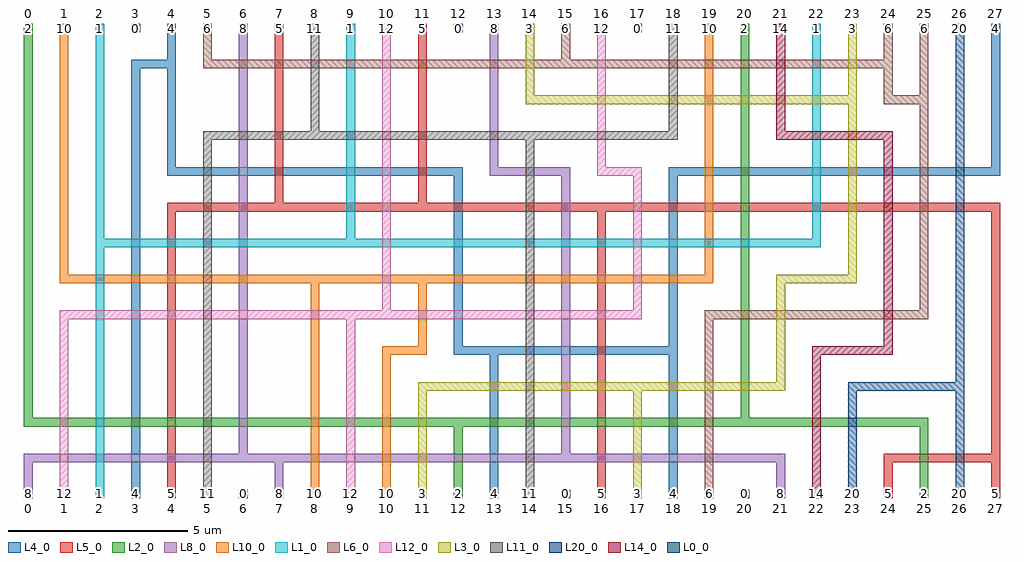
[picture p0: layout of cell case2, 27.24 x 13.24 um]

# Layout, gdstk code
import gdstk
lib = gdstk.Library(unit=1e-6, precision=1e-09)
def R(c, l, rs):  # rectangles x0, y0, x1, y1
    for r in rs: c.add(gdstk.rectangle(r[:2], r[2:], *l))
L0_0 = (0, 0)
L1_0 = (1, 0)
L2_0 = (2, 0)
L3_0 = (3, 0)
L4_0 = (4, 0)
L5_0 = (5, 0)
L6_0 = (6, 0)
L8_0 = (8, 0)
L10_0 = (10, 0)
L11_0 = (11, 0)
L12_0 = (12, 0)
L14_0 = (14, 0)
L20_0 = (20, 0)

case2 = lib.new_cell('case2')
R(case2, L0_0, [(5.88,-0.12,6.12,0.12), (14.88,-0.12,15.12,0.12), (19.88,-0.12,20.12,0.12), (2.88,12.88,3.12,13.12), (11.88,12.88,12.12,13.12), (16.88,12.88,17.12,13.12)])
R(case2, L1_0, [(1.88,-0.12,2.12,7.12), (1.88,-0.12,2.12,0.12), (1.88,6.88,2.12,12.12), (1.88,6.88,22.12,7.12), (8.88,6.88,9.12,13.12), (21.88,6.88,22.12,13.12), (1.88,11.88,2.12,13.12), (1.88,12.88,2.12,13.12), (8.88,12.88,9.12,13.12), (21.88,12.88,22.12,13.12)])
R(case2, L2_0, [(11.88,-0.12,12.12,2.12), (11.88,-0.12,12.12,0.12), (24.88,-0.12,25.12,2.12), (24.88,-0.12,25.12,0.12), (-0.12,1.88,0.12,12.12), (-0.12,1.88,25.12,2.12), (19.88,1.88,20.12,10.12), (19.88,9.88,20.12,13.12), (-0.12,11.88,0.12,13.12), (-0.12,12.88,0.12,13.12), (19.88,12.88,20.12,13.12)])
R(case2, L3_0, [(10.88,-0.12,11.12,3.12), (10.88,-0.12,11.12,0.12), (16.88,-0.12,17.12,3.12), (16.88,-0.12,17.12,0.12), (10.88,2.88,21.12,3.12), (20.88,2.88,21.12,6.12), (20.88,5.88,23.12,6.12), (22.88,5.88,23.12,11.12), (13.88,10.88,14.12,13.12), (13.88,10.88,23.12,11.12), (22.88,10.88,23.12,13.12), (13.88,12.88,14.12,13.12), (22.88,12.88,23.12,13.12)])
R(case2, L4_0, [(2.88,-0.12,3.12,8.12), (2.88,-0.12,3.12,0.12), (12.88,-0.12,13.12,4.12), (12.88,-0.12,13.12,0.12), (17.88,-0.12,18.12,4.12), (17.88,-0.12,18.12,0.12), (11.88,3.88,12.12,9.12), (11.88,3.88,18.12,4.12), (17.88,3.88,18.12,9.12), (2.88,7.88,3.12,12.12), (3.88,8.88,4.12,12.12), (3.88,8.88,12.12,9.12), (17.88,8.88,27.12,9.12), (26.88,8.88,27.12,12.12), (2.88,11.88,4.12,12.12), (3.88,11.88,4.12,13.12), (26.88,11.88,27.12,13.12), (3.88,12.88,4.12,13.12), (26.88,12.88,27.12,13.12)])
R(case2, L5_0, [(3.88,-0.12,4.12,8.12), (3.88,-0.12,4.12,0.12), (15.88,-0.12,16.12,8.12), (15.88,-0.12,16.12,0.12), (23.88,-0.12,24.12,1.12), (23.88,-0.12,24.12,0.12), (26.88,-0.12,27.12,1.12), (26.88,-0.12,27.12,0.12), (23.88,0.88,27.12,1.12), (26.88,0.88,27.12,8.12), (3.88,7.88,27.12,8.12), (6.88,7.88,7.12,13.12), (10.88,7.88,11.12,13.12), (6.88,12.88,7.12,13.12), (10.88,12.88,11.12,13.12)])
R(case2, L6_0, [(18.88,-0.12,19.12,4.12), (18.88,-0.12,19.12,0.12), (18.88,3.88,19.12,5.12), (18.88,4.88,25.12,5.12), (24.88,4.88,25.12,12.12), (23.88,10.88,24.12,12.12), (23.88,10.88,25.12,11.12), (4.88,11.88,5.12,13.12), (4.88,11.88,24.12,12.12), (14.88,11.88,15.12,13.12), (23.88,11.88,24.12,13.12), (24.88,11.88,25.12,13.12), (4.88,12.88,5.12,13.12), (14.88,12.88,15.12,13.12), (23.88,12.88,24.12,13.12), (24.88,12.88,25.12,13.12)])
R(case2, L8_0, [(-0.12,-0.12,0.12,1.12), (-0.12,-0.12,0.12,0.12), (6.88,-0.12,7.12,1.12), (6.88,-0.12,7.12,0.12), (20.88,-0.12,21.12,1.12), (20.88,-0.12,21.12,0.12), (-0.12,0.88,21.12,1.12), (5.88,0.88,6.12,13.12), (14.88,0.88,15.12,9.12), (12.88,8.88,13.12,13.12), (12.88,8.88,15.12,9.12), (5.88,12.88,6.12,13.12), (12.88,12.88,13.12,13.12)])
R(case2, L10_0, [(7.88,-0.12,8.12,6.12), (7.88,-0.12,8.12,0.12), (9.88,-0.12,10.12,4.12), (9.88,-0.12,10.12,0.12), (9.88,3.88,11.12,4.12), (10.88,3.88,11.12,6.12), (0.88,5.88,1.12,12.12), (0.88,5.88,19.12,6.12), (18.88,5.88,19.12,10.12), (18.88,9.88,19.12,13.12), (0.88,11.88,1.12,13.12), (0.88,12.88,1.12,13.12), (18.88,12.88,19.12,13.12)])
R(case2, L11_0, [(4.88,-0.12,5.12,10.12), (4.88,-0.12,5.12,0.12), (13.88,-0.12,14.12,10.12), (13.88,-0.12,14.12,0.12), (4.88,9.88,18.12,10.12), (7.88,9.88,8.12,13.12), (17.88,9.88,18.12,13.12), (7.88,12.88,8.12,13.12), (17.88,12.88,18.12,13.12)])
R(case2, L12_0, [(0.88,-0.12,1.12,5.12), (0.88,-0.12,1.12,0.12), (8.88,-0.12,9.12,5.12), (8.88,-0.12,9.12,0.12), (0.88,4.88,17.12,5.12), (9.88,4.88,10.12,13.12), (16.88,4.88,17.12,9.12), (15.88,8.88,16.12,13.12), (15.88,8.88,17.12,9.12), (9.88,12.88,10.12,13.12), (15.88,12.88,16.12,13.12)])
R(case2, L14_0, [(21.88,-0.12,22.12,1.12), (21.88,-0.12,22.12,0.12), (21.88,0.88,22.12,4.12), (21.88,3.88,24.12,4.12), (23.88,3.88,24.12,10.12), (20.88,9.88,21.12,13.12), (20.88,9.88,24.12,10.12), (20.88,12.88,21.12,13.12)])
R(case2, L20_0, [(22.88,-0.12,23.12,1.12), (22.88,-0.12,23.12,0.12), (25.88,-0.12,26.12,2.12), (25.88,-0.12,26.12,0.12), (22.88,0.88,23.12,3.12), (25.88,1.88,26.12,12.12), (22.88,2.88,26.12,3.12), (25.88,11.88,26.12,13.12), (25.88,12.88,26.12,13.12)])
case2.add(gdstk.Label('0', (0,13.4), layer=215, texttype=1))
case2.add(gdstk.Label('2', (0,13), layer=215, texttype=1))
case2.add(gdstk.Label('1', (1,13.4), layer=215, texttype=1))
case2.add(gdstk.Label('10', (1,13), layer=215, texttype=1))
case2.add(gdstk.Label('2', (2,13.4), layer=215, texttype=1))
case2.add(gdstk.Label('1', (2,13), layer=215, texttype=1))
case2.add(gdstk.Label('3', (3,13.4), layer=215, texttype=1))
case2.add(gdstk.Label('0', (3,13), layer=215, texttype=1))
case2.add(gdstk.Label('4', (4,13.4), layer=215, texttype=1))
case2.add(gdstk.Label('4', (4,13), layer=215, texttype=1))
case2.add(gdstk.Label('5', (5,13.4), layer=215, texttype=1))
case2.add(gdstk.Label('6', (5,13), layer=215, texttype=1))
case2.add(gdstk.Label('6', (6,13.4), layer=215, texttype=1))
case2.add(gdstk.Label('8', (6,13), layer=215, texttype=1))
case2.add(gdstk.Label('7', (7,13.4), layer=215, texttype=1))
case2.add(gdstk.Label('5', (7,13), layer=215, texttype=1))
case2.add(gdstk.Label('8', (8,13.4), layer=215, texttype=1))
case2.add(gdstk.Label('11', (8,13), layer=215, texttype=1))
case2.add(gdstk.Label('9', (9,13.4), layer=215, texttype=1))
case2.add(gdstk.Label('1', (9,13), layer=215, texttype=1))
case2.add(gdstk.Label('10', (10,13.4), layer=215, texttype=1))
case2.add(gdstk.Label('12', (10,13), layer=215, texttype=1))
case2.add(gdstk.Label('11', (11,13.4), layer=215, texttype=1))
case2.add(gdstk.Label('5', (11,13), layer=215, texttype=1))
case2.add(gdstk.Label('12', (12,13.4), layer=215, texttype=1))
case2.add(gdstk.Label('0', (12,13), layer=215, texttype=1))
case2.add(gdstk.Label('13', (13,13.4), layer=215, texttype=1))
case2.add(gdstk.Label('8', (13,13), layer=215, texttype=1))
case2.add(gdstk.Label('14', (14,13.4), layer=215, texttype=1))
case2.add(gdstk.Label('3', (14,13), layer=215, texttype=1))
case2.add(gdstk.Label('15', (15,13.4), layer=215, texttype=1))
case2.add(gdstk.Label('6', (15,13), layer=215, texttype=1))
case2.add(gdstk.Label('16', (16,13.4), layer=215, texttype=1))
case2.add(gdstk.Label('12', (16,13), layer=215, texttype=1))
case2.add(gdstk.Label('17', (17,13.4), layer=215, texttype=1))
case2.add(gdstk.Label('0', (17,13), layer=215, texttype=1))
case2.add(gdstk.Label('18', (18,13.4), layer=215, texttype=1))
case2.add(gdstk.Label('11', (18,13), layer=215, texttype=1))
case2.add(gdstk.Label('19', (19,13.4), layer=215, texttype=1))
case2.add(gdstk.Label('10', (19,13), layer=215, texttype=1))
case2.add(gdstk.Label('20', (20,13.4), layer=215, texttype=1))
case2.add(gdstk.Label('2', (20,13), layer=215, texttype=1))
case2.add(gdstk.Label('21', (21,13.4), layer=215, texttype=1))
case2.add(gdstk.Label('14', (21,13), layer=215, texttype=1))
case2.add(gdstk.Label('22', (22,13.4), layer=215, texttype=1))
case2.add(gdstk.Label('1', (22,13), layer=215, texttype=1))
case2.add(gdstk.Label('23', (23,13.4), layer=215, texttype=1))
case2.add(gdstk.Label('3', (23,13), layer=215, texttype=1))
case2.add(gdstk.Label('24', (24,13.4), layer=215, texttype=1))
case2.add(gdstk.Label('6', (24,13), layer=215, texttype=1))
case2.add(gdstk.Label('25', (25,13.4), layer=215, texttype=1))
case2.add(gdstk.Label('6', (25,13), layer=215, texttype=1))
case2.add(gdstk.Label('26', (26,13.4), layer=215, texttype=1))
case2.add(gdstk.Label('20', (26,13), layer=215, texttype=1))
case2.add(gdstk.Label('27', (27,13.4), layer=215, texttype=1))
case2.add(gdstk.Label('4', (27,13), layer=215, texttype=1))
case2.add(gdstk.Label('0', (0,-0.4), layer=215, texttype=1))
case2.add(gdstk.Label('8', (0,0), layer=215, texttype=1))
case2.add(gdstk.Label('1', (1,-0.4), layer=215, texttype=1))
case2.add(gdstk.Label('12', (1,0), layer=215, texttype=1))
case2.add(gdstk.Label('2', (2,-0.4), layer=215, texttype=1))
case2.add(gdstk.Label('1', (2,0), layer=215, texttype=1))
case2.add(gdstk.Label('3', (3,-0.4), layer=215, texttype=1))
case2.add(gdstk.Label('4', (3,0), layer=215, texttype=1))
case2.add(gdstk.Label('4', (4,-0.4), layer=215, texttype=1))
case2.add(gdstk.Label('5', (4,0), layer=215, texttype=1))
case2.add(gdstk.Label('5', (5,-0.4), layer=215, texttype=1))
case2.add(gdstk.Label('11', (5,0), layer=215, texttype=1))
case2.add(gdstk.Label('6', (6,-0.4), layer=215, texttype=1))
case2.add(gdstk.Label('0', (6,0), layer=215, texttype=1))
case2.add(gdstk.Label('7', (7,-0.4), layer=215, texttype=1))
case2.add(gdstk.Label('8', (7,0), layer=215, texttype=1))
case2.add(gdstk.Label('8', (8,-0.4), layer=215, texttype=1))
case2.add(gdstk.Label('10', (8,0), layer=215, texttype=1))
case2.add(gdstk.Label('9', (9,-0.4), layer=215, texttype=1))
case2.add(gdstk.Label('12', (9,0), layer=215, texttype=1))
case2.add(gdstk.Label('10', (10,-0.4), layer=215, texttype=1))
case2.add(gdstk.Label('10', (10,0), layer=215, texttype=1))
case2.add(gdstk.Label('11', (11,-0.4), layer=215, texttype=1))
case2.add(gdstk.Label('3', (11,0), layer=215, texttype=1))
case2.add(gdstk.Label('12', (12,-0.4), layer=215, texttype=1))
case2.add(gdstk.Label('2', (12,0), layer=215, texttype=1))
case2.add(gdstk.Label('13', (13,-0.4), layer=215, texttype=1))
case2.add(gdstk.Label('4', (13,0), layer=215, texttype=1))
case2.add(gdstk.Label('14', (14,-0.4), layer=215, texttype=1))
case2.add(gdstk.Label('11', (14,0), layer=215, texttype=1))
case2.add(gdstk.Label('15', (15,-0.4), layer=215, texttype=1))
case2.add(gdstk.Label('0', (15,0), layer=215, texttype=1))
case2.add(gdstk.Label('16', (16,-0.4), layer=215, texttype=1))
case2.add(gdstk.Label('5', (16,0), layer=215, texttype=1))
case2.add(gdstk.Label('17', (17,-0.4), layer=215, texttype=1))
case2.add(gdstk.Label('3', (17,0), layer=215, texttype=1))
case2.add(gdstk.Label('18', (18,-0.4), layer=215, texttype=1))
case2.add(gdstk.Label('4', (18,0), layer=215, texttype=1))
case2.add(gdstk.Label('19', (19,-0.4), layer=215, texttype=1))
case2.add(gdstk.Label('6', (19,0), layer=215, texttype=1))
case2.add(gdstk.Label('20', (20,-0.4), layer=215, texttype=1))
case2.add(gdstk.Label('0', (20,0), layer=215, texttype=1))
case2.add(gdstk.Label('21', (21,-0.4), layer=215, texttype=1))
case2.add(gdstk.Label('8', (21,0), layer=215, texttype=1))
case2.add(gdstk.Label('22', (22,-0.4), layer=215, texttype=1))
case2.add(gdstk.Label('14', (22,0), layer=215, texttype=1))
case2.add(gdstk.Label('23', (23,-0.4), layer=215, texttype=1))
case2.add(gdstk.Label('20', (23,0), layer=215, texttype=1))
case2.add(gdstk.Label('24', (24,-0.4), layer=215, texttype=1))
case2.add(gdstk.Label('5', (24,0), layer=215, texttype=1))
case2.add(gdstk.Label('25', (25,-0.4), layer=215, texttype=1))
case2.add(gdstk.Label('2', (25,0), layer=215, texttype=1))
case2.add(gdstk.Label('26', (26,-0.4), layer=215, texttype=1))
case2.add(gdstk.Label('20', (26,0), layer=215, texttype=1))
case2.add(gdstk.Label('27', (27,-0.4), layer=215, texttype=1))
case2.add(gdstk.Label('5', (27,0), layer=215, texttype=1))

lib.write_gds('case2.gds')
